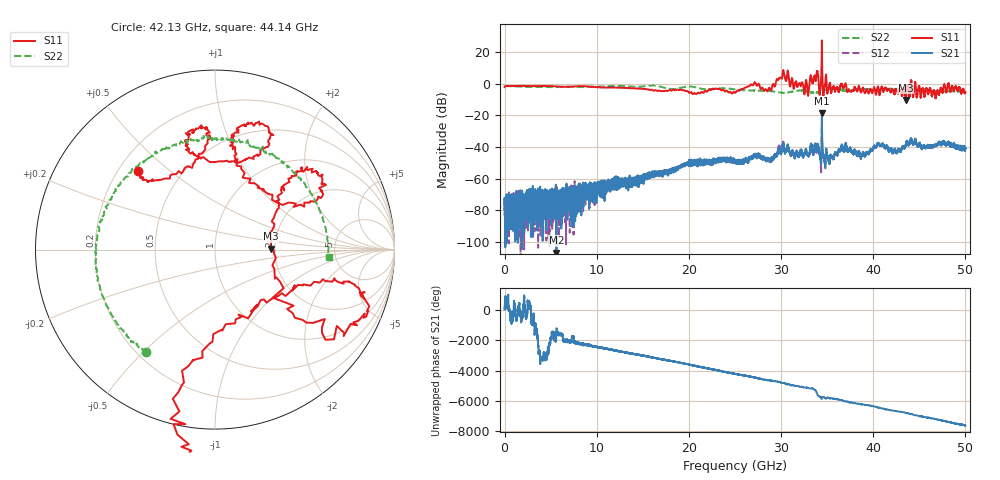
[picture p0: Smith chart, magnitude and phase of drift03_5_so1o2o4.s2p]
!Created with skrf (http://scikit-rf.org).
# Hz S RI R 50.0
!freq ReS11 ImS11 ReS21 ImS21 ReS12 ImS12 ReS22 ImS22
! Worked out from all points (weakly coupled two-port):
!   10000 points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, 5.3 MHz to 50 GHz, reference 50 ohm
!   highest |S21| = -18.55 dB at 34.43 GHz (marker M1); lowest = -106.6 dB at 5.63 GHz (marker M2)
!   lowest |S11| = -10.2 dB at 43.53 GHz (marker M3), VSWR 1.90, Z = 94.9 + j1.03 ohm
!   |S11| at or under -10 dB: 43.52652 GHz to 43.53177 GHz (5.247 MHz wide, 0.0121 % of centre)
!   |S22| runs from -5.8 to -1.1 dB; largest |S21 - S12| = 0.025
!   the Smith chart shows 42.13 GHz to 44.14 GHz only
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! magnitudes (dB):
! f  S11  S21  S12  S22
! 5.3 MHz  -2.1  -72.3  -72.3  -1.3
! 2.105 GHz  -1.3  -83.4  -76.1  -1.9
! 5.63 GHz  -1.6  -106.6  -84.2  -2.0
! 8.34 GHz  -1.5  -65.7  -69.4  -2.1
! 16.67 GHz  -4.4  -57.3  -56.9  -1.5
! 20.4 GHz  -6.4  -48.9  -51.2  -1.8
! 25.01 GHz  -5.5  -48.3  -49.0  -3.6
! 27.02 GHz  -0.4  -46.5  -45.2  -4.2
! 28.72 GHz  -2.5  -48.3  -48.4  -4.6
! 30.14 GHz  4.3  -41.3  -41.3  -5.7
! 32.74 GHz  2.1  -42.4  -42.4  -4.7
! 33.34 GHz  2.4  -39.6  -40.2  -5.5
! 33.82 GHz  3.9  -42.6  -42.1  -5.7
! 34.43 GHz  27.4  -18.6  -20.3  -4.6
! 35.33 GHz  -0.1  -45.6  -45.8  -3.3
! 36.82 GHz  -2.3  -41.5  -42.7  -4.2
! 38.85 GHz  -2.6  -43.9  -44.2  -3.2
! 40.6 GHz  -4.1  -38.3  -38.2  -4.1
! 41.67 GHz  -3.6  -41.7  -42.3  -3.4
! 42.74 GHz  -6.0  -41.2  -41.1  -3.7
! 43.53 GHz  -10.2  -38.9  -38.5  -4.2
! 50 GHz  -5.3  -40.9  -41.3  -4.6
